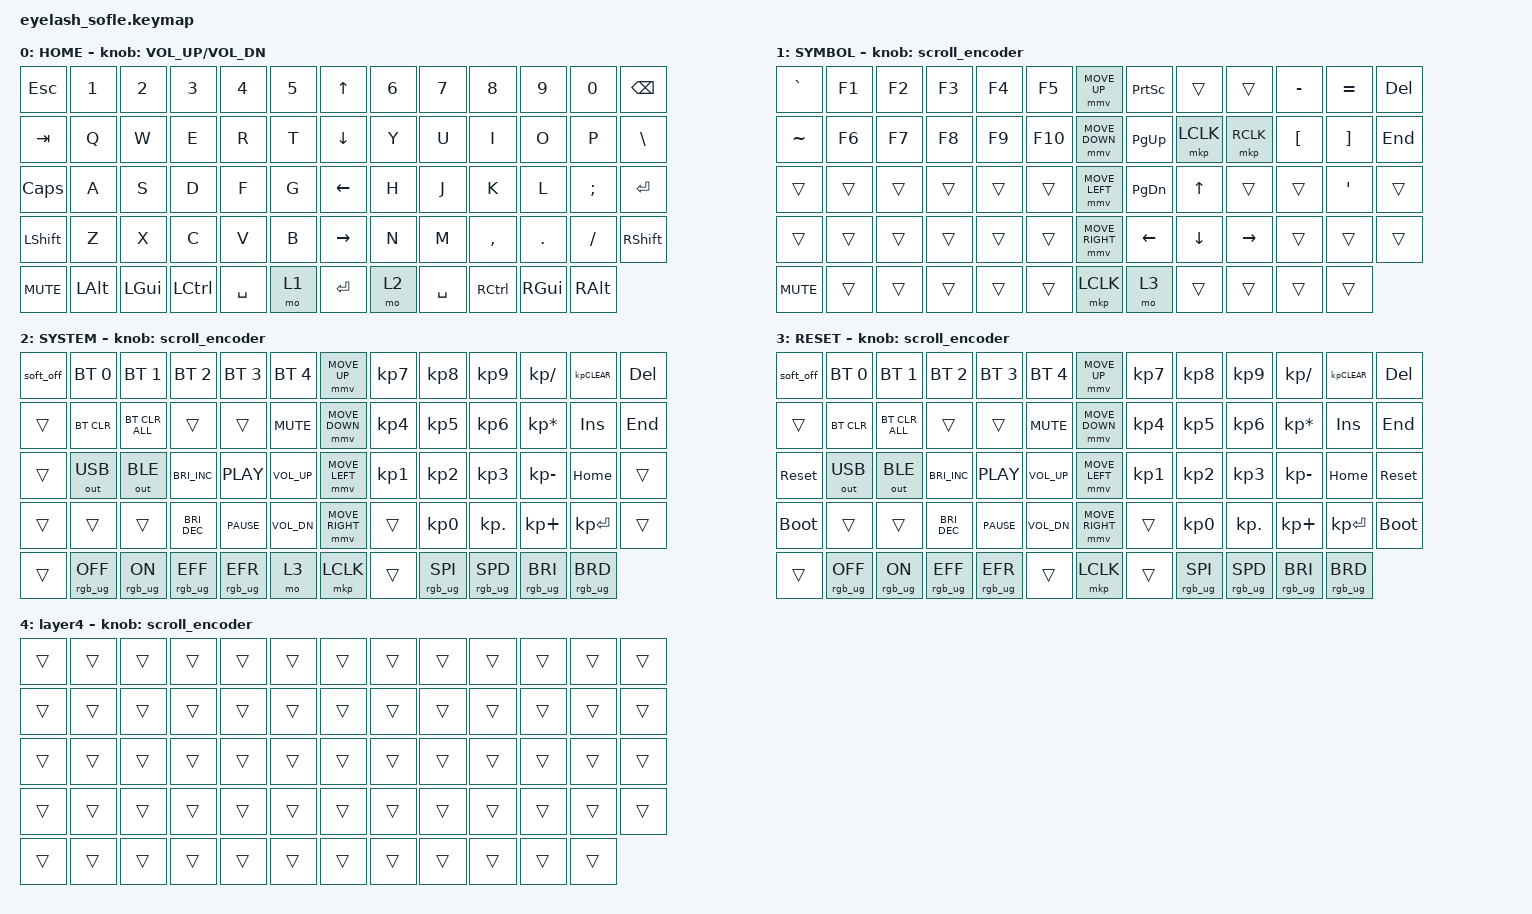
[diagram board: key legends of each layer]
#define ZMK_POINTING_DEFAULT_MOVE_VAL 1200  // 600
#define ZMK_POINTING_DEFAULT_SCRL_VAL 25   // 10

#include <input/processors.dtsi>
#include <zephyr/dt-bindings/input/input-event-codes.h>
#include <behaviors.dtsi>
#include <dt-bindings/zmk/bt.h>
#include <dt-bindings/zmk/keys.h>
#include <dt-bindings/zmk/outputs.h>
#include <dt-bindings/zmk/pointing.h>
#include <dt-bindings/zmk/rgb.h>

&mmv_input_listener { input-processors = <&zip_xy_scaler 2 1>; };

&msc_input_listener { input-processors = <&zip_scroll_scaler 2 1>; };

&msc {
    acceleration-exponent = <1>;      // 0
    time-to-max-speed-ms = <100>;       // 300
    delay-ms = <0>;                   // 0
};

&mmv {
    time-to-max-speed-ms = <500>;
    acceleration-exponent = <1>;
    trigger-period-ms = <16>;
};

&soft_off { hold-time-ms = <2000>; };

/ {
    scroll_encoder: scroll_encoder {
        compatible = "zmk,behavior-sensor-rotate";
        #sensor-binding-cells = <0>;
        bindings = <&msc SCRL_DOWN>, <&msc SCRL_UP>;

        tap-ms = <100>;
    };

    behaviors {
    };

    combos {
        compatible = "zmk,combos";

        softoff {
            bindings = <&soft_off>;
            key-positions = <14 28 40>;
        };
    };

    macros {
        SHIFT_MCLK: SHIFT_MCLK {
            compatible = "zmk,behavior-macro";
            #binding-cells = <0>;
            bindings =
                <&macro_press>,
                <&kp LEFT_SHIFT>,
                <&macro_press>,
                <&mkp MB3>,
                <&macro_pause_for_release>,
                <&macro_release>,
                <&kp LEFT_SHIFT &mkp MB3>;

            label = "SHIFT_MCLK";
        };
    };

    keymap {
        compatible = "zmk,keymap";

        layer0 {
            bindings = <
&kp ESC       &kp N1            &kp N2         &kp N3        &kp N4        &kp N5        &kp UP_ARROW         &kp N6      &kp N7         &kp N8             &kp N9              &kp N0      &kp BSPC
&kp TAB       &kp Q             &kp W          &kp E         &kp R         &kp T         &kp DOWN_ARROW       &kp Y       &kp U          &kp I              &kp O               &kp P       &kp BSLH
&kp CAPS      &kp A             &kp S          &kp D         &kp F         &kp G         &kp LEFT_ARROW       &kp H       &kp J          &kp K              &kp L               &kp SEMI    &kp ENTER
&kp LSHFT     &kp Z             &kp X          &kp C         &kp V         &kp B         &kp RIGHT_ARROW      &kp N       &kp M          &kp COMMA          &kp DOT             &kp FSLH    &kp RIGHT_SHIFT
&kp C_MUTE    &kp LEFT_ALT      &kp LEFT_GUI   &kp LCTRL     &kp SPACE     &mo 1         &kp ENTER            &mo 2       &kp SPACE      &kp RCTRL          &kp RIGHT_GUI       &kp RIGHT_ALT
            >;

            sensor-bindings = <&inc_dec_kp C_VOLUME_UP C_VOL_DN>;
            display-name = "HOME";
        };

        layer_1 {
            bindings = <
&kp GRAVE   &kp F1           &kp F2          &kp F3           &kp F4           &kp F5             &mmv MOVE_UP         &kp PSCRN        &trans          &trans              &kp MINUS      &kp EQUAL      &kp DEL
&kp TILDE   &kp F6           &kp F7          &kp F8           &kp F9           &kp F10            &mmv MOVE_DOWN       &kp PG_UP        &mkp LCLK       &mkp RCLK           &kp LBKT       &kp RBKT       &kp END
&trans      &trans           &trans          &trans           &trans           &trans             &mmv MOVE_LEFT       &kp PG_DN        &kp UP          &trans              &trans         &kp APOS       &trans
&trans      &trans           &trans          &trans           &trans           &trans             &mmv MOVE_RIGHT      &kp LEFT         &kp DOWN        &kp RIGHT           &trans         &trans         &trans
&kp C_MUTE  &trans           &trans          &trans           &trans           &trans             &mkp LCLK            &mo 3            &trans          &trans              &trans         &trans
            >;

            display-name = "SYMBOL";
            sensor-bindings = <&scroll_encoder>;
        };

        layer_2 {
            bindings = <
&soft_off      &bt BT_SEL 0      &bt BT_SEL 1    &bt BT_SEL 2      &bt BT_SEL 3      &bt BT_SEL 4          &mmv MOVE_UP         &kp KP_N7         &kp KP_N8             &kp KP_N9            &kp KP_DIVIDE       &kp KP_CLEAR      &kp DEL
&trans         &bt BT_CLR        &bt BT_CLR_ALL  &trans            &trans            &kp C_MUTE            &mmv MOVE_DOWN       &kp KP_N4         &kp KP_N5             &kp KP_N6            &kp KP_MULTIPLY     &kp INSERT        &kp END        
&trans         &out OUT_USB      &out OUT_BLE    &kp C_BRI_INC     &kp C_PLAY        &kp C_VOL_UP          &mmv MOVE_LEFT       &kp KP_N1         &kp KP_N2             &kp KP_N3            &kp KP_MINUS        &kp HOME          &trans      
&trans         &trans            &trans          &kp C_BRI_DEC     &kp C_PAUSE       &kp C_VOL_DN          &mmv MOVE_RIGHT      &trans            &kp KP_N0             &kp KP_DOT           &kp KP_PLUS         &kp KP_ENTER      &trans      
&trans         &rgb_ug RGB_OFF   &rgb_ug RGB_ON  &rgb_ug RGB_EFF   &rgb_ug RGB_EFR   &mo 3                 &mkp LCLK            &trans            &rgb_ug RGB_SPI       &rgb_ug RGB_SPD      &rgb_ug RGB_BRI       &rgb_ug RGB_BRD  
            >;

            display-name = "SYSTEM";
            sensor-bindings = <&scroll_encoder>;
        };

        layer_3 {
            bindings = <
&soft_off      &bt BT_SEL 0      &bt BT_SEL 1    &bt BT_SEL 2      &bt BT_SEL 3      &bt BT_SEL 4          &mmv MOVE_UP         &kp KP_N7         &kp KP_N8             &kp KP_N9            &kp KP_DIVIDE       &kp KP_CLEAR      &kp DEL
&trans         &bt BT_CLR        &bt BT_CLR_ALL  &trans            &trans            &kp C_MUTE            &mmv MOVE_DOWN       &kp KP_N4         &kp KP_N5             &kp KP_N6            &kp KP_MULTIPLY     &kp INSERT        &kp END        
&sys_reset     &out OUT_USB      &out OUT_BLE    &kp C_BRI_INC     &kp C_PLAY        &kp C_VOL_UP          &mmv MOVE_LEFT       &kp KP_N1         &kp KP_N2             &kp KP_N3            &kp KP_MINUS        &kp HOME          &sys_reset
&bootloader    &trans            &trans          &kp C_BRI_DEC     &kp C_PAUSE       &kp C_VOL_DN          &mmv MOVE_RIGHT      &trans            &kp KP_N0             &kp KP_DOT           &kp KP_PLUS         &kp KP_ENTER      &bootloader  
&trans         &rgb_ug RGB_OFF   &rgb_ug RGB_ON  &rgb_ug RGB_EFF   &rgb_ug RGB_EFR   &trans                &mkp LCLK            &trans            &rgb_ug RGB_SPI       &rgb_ug RGB_SPD      &rgb_ug RGB_BRI       &rgb_ug RGB_BRD
            >;

            display-name = "RESET";
            sensor-bindings = <&scroll_encoder>;
        };

        layer_4 {
            bindings = <
&trans  &trans  &trans  &trans  &trans  &trans    &trans  &trans  &trans  &trans  &trans  &trans  &trans
&trans  &trans  &trans  &trans  &trans  &trans    &trans  &trans  &trans  &trans  &trans  &trans  &trans
&trans  &trans  &trans  &trans  &trans  &trans    &trans  &trans  &trans  &trans  &trans  &trans  &trans
&trans  &trans  &trans  &trans  &trans  &trans    &trans  &trans  &trans  &trans  &trans  &trans  &trans
&trans  &trans  &trans  &trans  &trans  &trans    &trans  &trans  &trans  &trans  &trans  &trans
            >;

            display-name = "layer4";
            sensor-bindings = <&scroll_encoder>;
        };
    };
};
